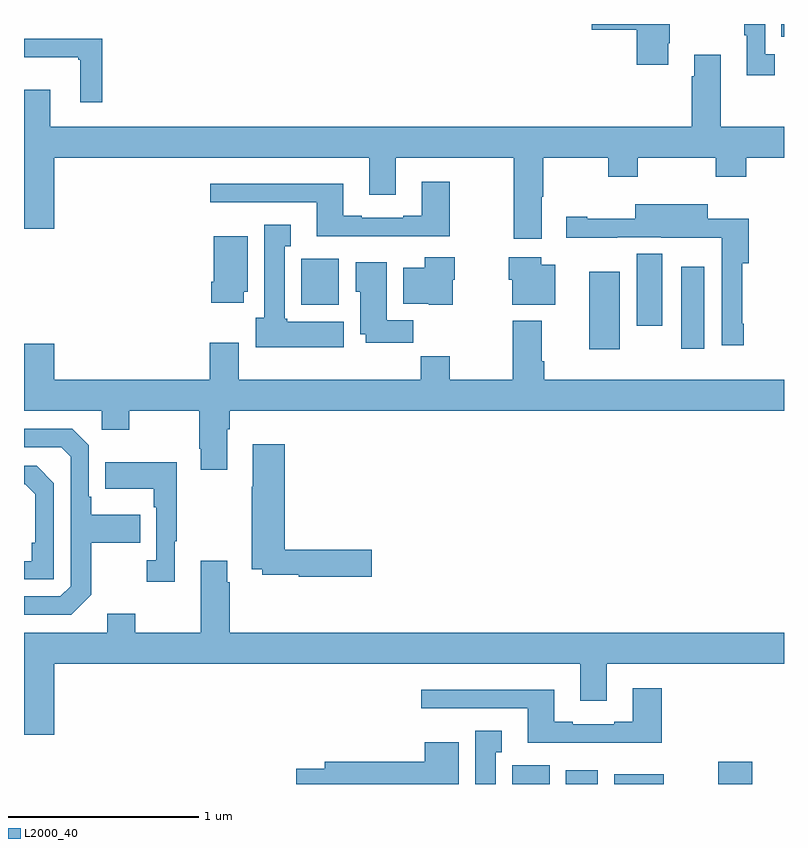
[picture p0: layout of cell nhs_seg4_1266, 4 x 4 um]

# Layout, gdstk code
import gdstk
lib = gdstk.Library(unit=1e-6, precision=1e-09)
def R(c, l, rs):  # rectangles x0, y0, x1, y1
    for r in rs: c.add(gdstk.rectangle(r[:2], r[2:], *l))
def P(c, l, *ps):  # polygons
    for p in ps: c.add(gdstk.Polygon(p, *l))
L2000_40 = (2000, 40)

nhs_seg4_1266 = lib.new_cell('nhs_seg4_1266')
R(nhs_seg4_1266, L2000_40, [(179.57,750.9,179.767,751), (179.852,750.9,180.019,750.973), (180.107,750.9,180.366,750.952), (180.655,750.9,180.833,751.018), (179.975,753.189,180.136,753.595), (180.458,753.192,180.58,753.622), (180.224,753.312,180.358,753.691), (178.46,753.422,178.657,753.664), (180.985,754.834,181,754.9)])
P(nhs_seg4_1266, L2000_40, [(180.391,754.798),(180.399,754.798),(180.399,754.9),(179.988,754.9),(179.988,754.871),(180.224,754.871),(180.224,754.686),(180.391,754.686)],
  [(180.952,754.742),(180.9,754.742),(180.9,754.9),(180.792,754.9),(180.792,754.841),(180.803,754.841),(180.803,754.629),(180.952,754.629)],
  [(177.413,754.822),(177,754.822),(177,754.724),(177.285,754.724),(177.285,754.713),(177.296,754.713),(177.296,754.488),(177.413,754.488)],
  [(179.725,753.992),(179.733,753.992),(179.733,754.196),(180.076,754.196),(180.076,754.097),(180.231,754.097),(180.231,754.196),(180.64,754.196),(180.64,754.097),(180.8,754.097),(180.8,754.196),(181,754.196),(181,754.36),(180.667,754.36),(180.667,754.738),(180.527,754.738),(180.527,754.625),(180.515,754.625),(180.515,754.36),(177.139,754.36),(177.139,754.555),(177,754.555),(177,753.822),(177.16,753.822),(177.16,754.196),(178.817,754.196),(178.817,754.002),(178.957,754.002),(178.957,754.196),(179.578,754.196),(179.578,753.771),(179.725,753.771)],
  [(179.241,754.069),(179.093,754.069),(179.093,753.892),(178.997,753.892),(178.997,753.879),(178.777,753.879),(178.777,753.892),(178.681,753.892),(178.681,754.06),(177.981,754.06),(177.981,753.963),(178.541,753.963),(178.541,753.782),(179.241,753.782)],
  [(180.788,753.322),(180.781,753.322),(180.781,753.641),(180.815,753.641),(180.815,753.876),(180.598,753.876),(180.598,753.952),(180.218,753.952),(180.218,753.876),(179.965,753.876),(179.965,753.886),(179.853,753.886),(179.853,753.776),(180.122,753.776),(180.122,753.777),(180.354,753.777),(180.354,753.776),(180.672,753.776),(180.672,753.21),(180.788,753.21)],
  [(178.684,753.334),(178.386,753.334),(178.386,753.348),(178.372,753.348),(178.372,753.731),(178.405,753.731),(178.405,753.844),(178.265,753.844),(178.265,753.354),(178.22,753.354),(178.22,753.2),(178.684,753.2)],
  [(178.156,753.492),(178.177,753.492),(178.177,753.784),(177.998,753.784),(177.998,753.544),(177.986,753.544),(177.986,753.432),(178.156,753.432)],
  [(179.256,753.555),(179.266,753.555),(179.266,753.673),(179.108,753.673),(179.108,753.616),(178.997,753.616),(178.997,753.428),(179.13,753.428),(179.13,753.422),(179.256,753.422)],
  [(179.797,753.634),(179.723,753.634),(179.723,753.673),(179.552,753.673),(179.552,753.555),(179.57,753.555),(179.57,753.422),(179.797,753.422)],
  [(179.048,753.34),(178.909,753.34),(178.909,753.646),(178.745,753.646),(178.745,753.492),(178.769,753.492),(178.769,753.266),(178.799,753.266),(178.799,753.222),(179.048,753.222)],
  [(177.977,753.028),(177.16,753.028),(177.16,753.217),(177,753.217),(177,752.864),(177.408,752.864),(177.408,752.765),(177.555,752.765),(177.555,752.864),(177.922,752.864),(177.922,752.665),(177.929,752.665),(177.929,752.553),(178.069,752.553),(178.069,752.768),(178.082,752.768),(178.082,752.864),(181,752.864),(181,753.028),(179.738,753.028),(179.738,753.124),(179.725,753.124),(179.725,753.337),(179.573,753.337),(179.573,753.028),(179.241,753.028),(179.241,753.152),(179.089,753.152),(179.089,753.028),(178.129,753.028),(178.129,753.223),(177.977,753.223)],
  [(177.355,751.897),(177.355,752.17),(177.611,752.17),(177.611,752.317),(177.355,752.317),(177.355,752.413),(177.342,752.413),(177.342,752.682),(177.255,752.769),(177,752.769),(177,752.673),(177.195,752.673),(177.246,752.622),(177.246,751.941),(177.192,751.887),(177,751.887),(177,751.791),(177.249,751.791)],
  [(178.831,752.132),(178.373,752.132),(178.373,752.689),(178.205,752.689),(178.205,752.465),(178.198,752.465),(178.198,752.03),(178.254,752.03),(178.254,752.002),(178.446,752.002),(178.446,751.99),(178.831,751.99)],
  [(177.793,752.177),(177.805,752.177),(177.805,752.593),(177.427,752.593),(177.427,752.453),(177.684,752.453),(177.684,752.357),(177.696,752.357),(177.696,752.078),(177.645,752.078),(177.645,751.965),(177.793,751.965)],
  [(177.156,752.484),(177.066,752.574),(177,752.574),(177,752.477),(177.007,752.477),(177.06,752.424),(177.06,752.17),(177.04,752.17),(177.04,752.073),(177,752.073),(177,751.977),(177.156,751.977)],
  [(177.16,751.532),(179.927,751.532),(179.927,751.338),(180.067,751.338),(180.067,751.532),(181,751.532),(181,751.696),(178.082,751.696),(178.082,751.961),(178.069,751.961),(178.069,752.074),(177.929,752.074),(177.929,751.696),(177.585,751.696),(177.585,751.795),(177.437,751.795),(177.437,751.696),(177,751.696),(177,751.158),(177.16,751.158)],
  [(180.356,751.405),(180.203,751.405),(180.203,751.228),(180.107,751.228),(180.107,751.215),(179.887,751.215),(179.887,751.228),(179.791,751.228),(179.791,751.396),(179.091,751.396),(179.091,751.299),(179.651,751.299),(179.651,751.118),(180.356,751.118)],
  [(179.482,751.067),(179.515,751.067),(179.515,751.18),(179.375,751.18),(179.375,750.9),(179.482,750.9)],
  [(179.287,751.12),(179.108,751.12),(179.108,751.016),(178.583,751.016),(178.583,750.98),(178.434,750.98),(178.434,750.9),(179.287,750.9)])

lib.write_gds('nhs_seg4_1266.gds')
